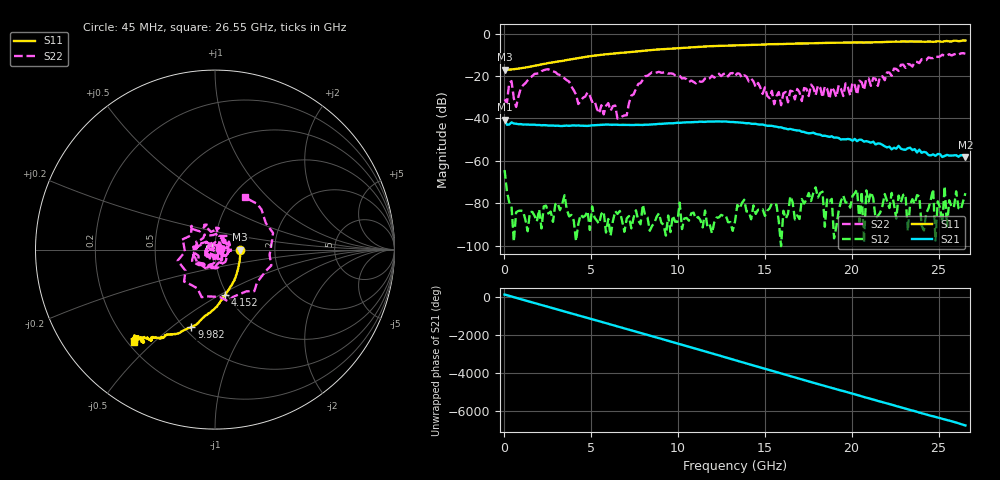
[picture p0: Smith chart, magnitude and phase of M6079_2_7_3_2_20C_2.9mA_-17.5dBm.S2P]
!  2-Port S-parameters saved by WinCal
! VAR MeasName=S-Parameters (CALIBRATED_DATA) read from VNA (C)
! VAR MeasDate=10/5/2015 6:01:24 PM
! VAR NAME=M6079_2_7_3_2_20C_2.9mA_-17.5dBm
! VAR FILENAME=M6079_2_7_3_2_20C_2.9mA_-17.5dBm.S2P
! VAR DATE=10/5/2015 6:01:24 PM
! VAR PHYS_PORTS=2,1
! VAR ObjTypeName=DATASET
! VAR IndexType=Frequency
# Hz S DB R 50
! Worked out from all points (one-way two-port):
!   201 points, 45 MHz to 26.55 GHz, reference 50 ohm
!   highest |S21| = -40.57 dB at 45 MHz (marker M1); lowest = -58.2 dB at 26.55 GHz (marker M2)
!   lowest |S11| = -17.0 dB at 45 MHz (marker M3), VSWR 1.33, Z = 66.4 - j0.14 ohm
!   |S11| at or under -10 dB: start of sweep to 5.581 GHz
!   |S22| runs from -40.1 to -9.2 dB; largest |S21 - S12| = 0.01
!   S11 on the Smith chart (normalised r, x): 45 MHz: 1.33, -0.00; 4.152 GHz: 0.98, -0.53; 9.982 GHz: 0.54, -0.59; 26.55 GHz: 0.22, -0.43
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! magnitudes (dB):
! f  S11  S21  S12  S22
! 45 MHz  -17.0  -40.6  -64.3  -31.0
! 310 MHz  -17.0  -42.8  -79.5  -23.3
! 707.5 MHz  -16.7  -42.5  -84.2  -34.6
! 1.105 GHz  -16.2  -42.9  -83.7  -24.4
! 2.43 GHz  -14.1  -43.2  -81.1  -16.9
! 4.152 GHz  -11.7  -43.4  -97.8  -28.7
! 4.55 GHz  -11.2  -43.4  -86.6  -30.2
! 6.67 GHz  -9.1  -43.1  -83.6  -39.8
! 7.73 GHz  -8.3  -43.0  -88.0  -23.7
! 8.922 GHz  -7.5  -42.5  -84.7  -18.0
! 9.982 GHz  -6.9  -42.0  -88.7  -19.6
! 13.29 GHz  -5.5  -41.7  -88.6  -20.0
! 15.81 GHz  -4.9  -44.2  -88.4  -27.5
! 15.95 GHz  -4.9  -44.2  -100.2  -33.8
! 17.8 GHz  -4.6  -46.7  -75.1  -25.4
! 19.92 GHz  -4.2  -49.8  -82.0  -29.2
! 20.05 GHz  -4.2  -50.4  -76.5  -23.0
! 20.32 GHz  -4.2  -50.7  -73.5  -28.8
! 20.45 GHz  -4.1  -50.0  -88.8  -22.2
! 20.85 GHz  -4.1  -50.7  -73.9  -21.1
! 22.17 GHz  -3.9  -53.3  -82.2  -18.3
! 26.55 GHz  -3.3  -58.2  -75.2  -9.5
